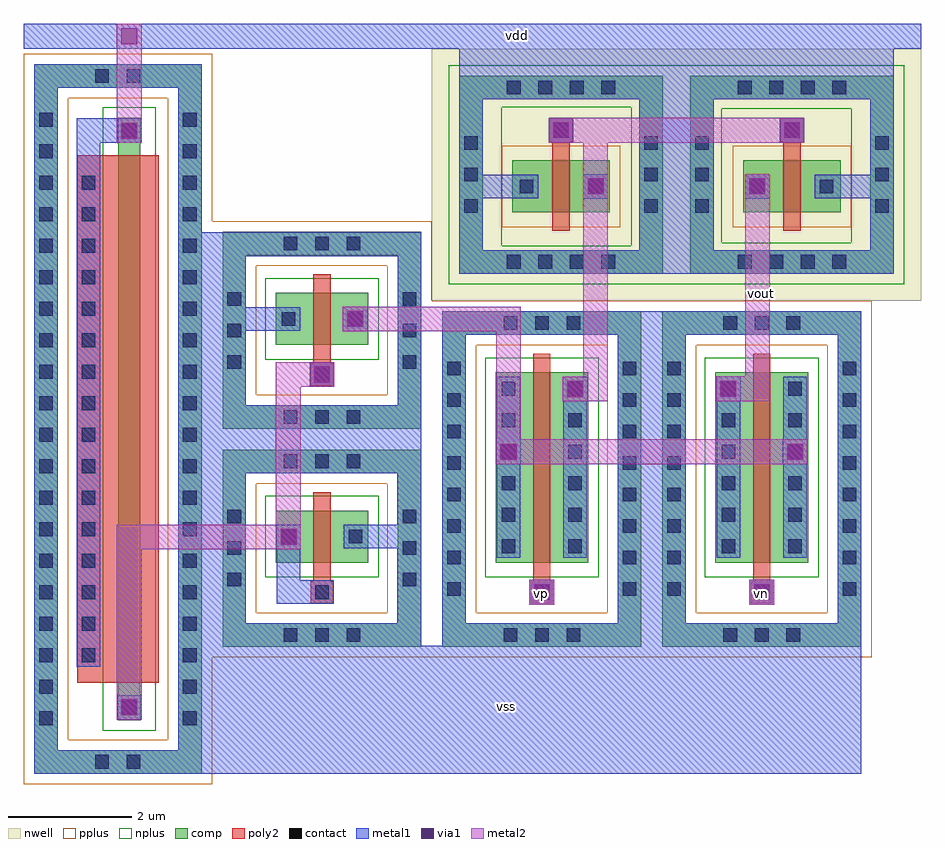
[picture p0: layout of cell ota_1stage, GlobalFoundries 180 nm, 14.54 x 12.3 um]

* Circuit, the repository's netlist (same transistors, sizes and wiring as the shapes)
* NGSPICE file created from ota_1stage.ext - technology: gf180mcuD

.subckt pfet w_n352_n286# a_n92_0# a_94_0# a_28_228#
X0 a_94_0# a_28_228# a_n92_0# w_n352_n286# pfet_03v3 ad=0.546p pd=2.98u as=0.546p ps=2.98u w=0.84u l=0.28u
.ends

.subckt nfet$1 a_n256_n272# a_30_n132# a_n84_0# a_94_0#
X0 a_94_0# a_30_n132# a_n84_0# a_n256_n272# nfet_03v3 ad=1.8788p pd=7.38u as=1.8788p ps=7.38u w=3.08u l=0.28u
.ends

.subckt nfet a_n84_n2# a_n256_n198# a_1746_0# a_38_n60#
X0 a_1746_0# a_38_n60# a_n84_n2# a_n256_n198# nfet_03v3 ad=0.228p pd=1.98u as=0.228p ps=1.98u w=0.36u l=8.54u
.ends

.subckt nfet$2 a_n256_n272# a_30_n132# a_n84_0# a_94_0#
X0 a_94_0# a_30_n132# a_n84_0# a_n256_n272# nfet_03v3 ad=0.5124p pd=2.9u as=0.5124p ps=2.9u w=0.84u l=0.28u
.ends

.subckt ota_1stage vdd vp vn vss vout
Xpfet_0 vdd vdd m3_n314_178# m3_n314_178# pfet
Xpfet_1 vdd vdd vout m3_n314_178# pfet
Xnfet$1_0 vss vn m3_n530_n14# vout nfet$1
Xnfet$1_1 vss vp m3_n530_n14# m3_n314_178# nfet$1
Xnfet_0 m3_n1200_n476# vss vdd vdd nfet
Xnfet$2_0 vss m3_n1200_n476# m3_n1200_n476# vss nfet$2
Xnfet$2_1 vss m3_n1200_n476# vss m3_n530_n14# nfet$2
.ends

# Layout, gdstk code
from math import pi, radians
import gdstk
lib = gdstk.Library(unit=1e-6, precision=5e-09)
def R(c, l, rs):  # rectangles x0, y0, x1, y1
    for r in rs: c.add(gdstk.rectangle(r[:2], r[2:], *l))
def A(c, l, x, y, w, h, nx, ny, dx, dy):  # array of equal rectangles
    R(c, l, [(x+i*dx, y+j*dy, x+i*dx+w, y+j*dy+h) for i in range(nx) for j in range(ny)])
def P(c, l, *ps):  # polygons
    for p in ps: c.add(gdstk.Polygon(p, *l))
nwell = (21, 0)
comp = (22, 0)
poly2 = (30, 0)
pplus = (31, 0)
nplus = (32, 0)
contact = (33, 0)
metal1 = (34, 0)
via1 = (35, 0)
metal2 = (36, 0)

nfet_3 = lib.new_cell('nfet$3')
R(nfet_3, comp, [(-0.42,-0.01,0,0.37), (8.92,-0.01,9.34,0.37), (0,0,8.92,0.36)])
P(nfet_3, comp, [(-1.28,-0.99),(-1.28,1.34),(-0.9,1.34),(-0.9,-0.61),(9.82,-0.61),(9.82,1.34),(-1.28,1.34),(-1.28,1.72),(10.2,1.72),(10.2,-0.99)])
R(nfet_3, poly2, [(0.19,-0.3,8.73,0.66), (0.19,0.66,8.73,1.02)])
P(nfet_3, pplus, [(-1.45,-1.16),(-1.45,1.17),(-0.73,1.17),(-0.73,-0.44),(9.65,-0.44),(9.65,1.17),(-1.45,1.17),(-1.45,1.89),(10.37,1.89),(10.37,-1.16)])
R(nfet_3, nplus, [(-0.59,-0.25,9.51,0.61)])
A(nfet_3, contact, -0.495, -0.91, 0.22, 0.22, 20, 2, 0.51, 2.33)
A(nfet_3, contact, 0.525, 0.73, 0.22, 0.22, 16, 1, 0.51, 0)
R(nfet_3, contact, [(-1.2,0,-0.98,0.22), (9.9,0,10.12,0.22), (-0.32,0.07,-0.1,0.29), (9.02,0.07,9.24,0.29), (-1.2,0.51,-0.98,0.73), (9.9,0.51,10.12,0.73)])
R(nfet_3, metal1, [(-0.4,-0.01,-0.02,0.37), (8.94,-0.01,9.32,0.37), (0.445,0.65,8.475,1.03)])

pfet_1 = lib.new_cell('pfet$1')
R(pfet_1, nwell, [(-1.76,-1.43,2.42,2.65)])
R(pfet_1, comp, [(-0.46,0,0,0.84), (0,0,0.66,0.84), (0.66,0,1.12,0.84)])
P(pfet_1, comp, [(-1.32,-0.99),(-1.32,1.83),(-0.94,1.83),(-0.94,-0.61),(1.6,-0.61),(1.6,1.83),(-1.32,1.83),(-1.32,2.21),(1.98,2.21),(1.98,-0.99)])
R(pfet_1, poly2, [(0.19,-0.3,0.47,1.14), (0.14,1.14,0.52,1.52)])
R(pfet_1, pplus, [(-0.63,-0.24,1.29,1.08)])
A(pfet_1, contact, -0.545, -0.91, 0.22, 0.22, 4, 2, 0.51, 2.82)
A(pfet_1, contact, -1.24, -0.01, 0.22, 0.22, 1, 3, 0, 0.51)
A(pfet_1, contact, 1.68, -0.01, 0.22, 0.22, 1, 3, 0, 0.51)
R(pfet_1, contact, [(-0.34,0.31,-0.12,0.53), (0.78,0.31,1,0.53), (0.22,1.22,0.44,1.44)])
R(pfet_1, metal1, [(-0.42,0.23,-0.04,0.61), (0.7,0.23,1.08,0.61), (0.14,1.14,0.52,1.52)])

via_dev_2 = lib.new_cell('via_dev$2')
R(via_dev_2, metal1, [(0,0,0.4,0.4)])
R(via_dev_2, via1, [(0.07,0.07,0.33,0.33)])
R(via_dev_2, metal2, [(0,0,0.4,0.4)])

nfet_1 = lib.new_cell('nfet$1')
R(nfet_1, comp, [(-0.42,0,0,3.08), (0,0,0.66,3.08), (0.66,0,1.08,3.08)])
P(nfet_1, comp, [(-1.28,-1.36),(-1.28,3.69),(-0.9,3.69),(-0.9,-0.98),(1.56,-0.98),(1.56,3.69),(-1.28,3.69),(-1.28,4.07),(1.94,4.07),(1.94,-1.36)])
R(nfet_1, poly2, [(0.15,-0.66,0.51,-0.3), (0.19,-0.3,0.47,3.38)])
P(nfet_1, pplus, [(-1.45,-1.53),(-1.45,3.52),(-0.73,3.52),(-0.73,-0.81),(1.39,-0.81),(1.39,3.52),(-1.45,3.52),(-1.45,4.24),(2.11,4.24),(2.11,-1.53)])
R(nfet_1, nplus, [(-0.59,-0.24,1.25,3.32)])
A(nfet_1, contact, -0.29, -1.28, 0.22, 0.22, 3, 2, 0.51, 5.05)
A(nfet_1, contact, -1.2, -0.54, 0.22, 0.22, 1, 8, 0, 0.51)
A(nfet_1, contact, 1.64, -0.54, 0.22, 0.22, 1, 8, 0, 0.51)
A(nfet_1, contact, -0.32, 0.155, 0.22, 0.22, 1, 6, 0, 0.51)
A(nfet_1, contact, 0.76, 0.155, 0.22, 0.22, 1, 6, 0, 0.51)
R(nfet_1, contact, [(0.22,-0.59,0.44,-0.37)])
R(nfet_1, metal1, [(0.14,-0.67,0.52,-0.29), (-0.4,0.075,-0.02,3.005), (0.68,0.075,1.06,3.005)])

nfet = lib.new_cell('nfet')
R(nfet, comp, [(-0.42,0,0,0.84), (0,0,0.66,0.84), (0.66,0,1.08,0.84)])
P(nfet, comp, [(-1.28,-1.36),(-1.28,1.45),(-0.9,1.45),(-0.9,-0.98),(1.56,-0.98),(1.56,1.45),(-1.28,1.45),(-1.28,1.83),(1.94,1.83),(1.94,-1.36)])
R(nfet, poly2, [(0.15,-0.66,0.51,-0.3), (0.19,-0.3,0.47,1.14)])
P(nfet, pplus, [(-1.45,-1.53),(-1.45,1.28),(-0.73,1.28),(-0.73,-0.81),(1.39,-0.81),(1.39,1.28),(-1.45,1.28),(-1.45,2),(2.11,2),(2.11,-1.53)])
R(nfet, nplus, [(-0.59,-0.24,1.25,1.08)])
A(nfet, contact, -0.29, -1.28, 0.22, 0.22, 3, 2, 0.51, 2.81)
A(nfet, contact, -1.2, -0.385, 0.22, 0.22, 1, 3, 0, 0.51)
A(nfet, contact, 1.64, -0.385, 0.22, 0.22, 1, 3, 0, 0.51)
R(nfet, contact, [(0.22,-0.59,0.44,-0.37), (-0.32,0.31,-0.1,0.53), (0.76,0.31,0.98,0.53)])
R(nfet, metal1, [(0.14,-0.67,0.52,-0.29), (-0.4,0.23,-0.02,0.61), (0.68,0.23,1.06,0.61)])

ota_1stage = lib.new_cell('ota_1stage')
P(ota_1stage, nplus, [(-3.75,2.625),(-3.75,5.485),(-2.89,5.485),(-2.89,3.245),(-0.795,3.245),(-0.795,5.465),(0.675,5.465),(0.675,3.29),(2.77,3.29),(2.77,5.465),(-0.795,5.465),(-0.795,5.485),(-3.75,5.485),(-3.75,6.165),(3.63,6.165),(3.63,2.625)])
R(ota_1stage, metal1, [(-7.75,-5.3,-7.41,3.46), (-7.41,-5.3,2.93,-3.23), (-5.075,-1.655,-4.58,-1.275), (-7.05,1.87,-6.525,2.25), (-3.22,4.015,-2.68,4.395), (2.56,4.015,3.09,4.395), (-3.58,5.995,3.46,6.435), (-10.63,6.435,3.905,6.835)])
P(ota_1stage, metal1, [(-9.77,4.455),(-9.77,5.31),(-9.12,5.31),(-9.12,4.91),(-9.39,4.91),(-9.39,4.455)],
  [(-10.46,-5.3),(-10.46,6.18),(-7.75,6.18),(-7.75,-5.3),(-10.08,-5.3),(-10.08,-4.92),(-8.13,-4.92),(-8.13,5.8),(-10.08,5.8),(-10.08,-5.3)],
  [(-6.53,-2.555),(-6.53,-1.655),(-6.15,-1.655),(-6.15,-2.175),(-5.99,-2.175),(-5.99,-2.555)],
  [(-3.85,-3.245),(-3.85,1.805),(-3.47,1.805),(-3.47,-2.865),(-1.01,-2.865),(-1.01,1.805),(0.09,1.805),(0.09,-2.865),(2.55,-2.865),(2.55,1.805),(-3.85,1.805),(-3.85,2.185),(2.93,2.185),(2.93,-3.245)],
  [(-7.41,-3.25),(-7.41,-0.44),(-7.03,-0.44),(-7.03,-2.87),(-4.58,-2.87),(-4.58,-0.44),(-7.41,-0.44),(-7.41,3.075),(-7.03,3.075),(-7.03,0.66),(-4.57,0.66),(-4.57,3.075),(-7.41,3.075),(-7.41,3.46),(-4.19,3.46),(-4.19,-3.25)],
  [(-3.58,2.795),(-3.58,5.615),(-3.2,5.615),(-3.2,3.175),(-0.66,3.175),(-0.66,5.615),(0.54,5.615),(0.54,3.175),(3.08,3.175),(3.08,5.615),(-3.58,5.615),(-3.58,5.995),(3.46,5.995),(3.46,2.795)])
R(ota_1stage, metal2, [(-9.12,-4.03,-8.72,-1.27), (-9.1,-1.67,-6.545,-1.27), (-6.545,-1.67,-6.145,0.96), (-2.58,-0.29,1.66,0.11), (-2.98,0.11,-2.58,1.86), (-1.57,0.725,-1.17,4.915), (0.98,0.73,1.05,1.13), (1.05,0.73,1.45,4.13), (-6.545,0.96,-6,1.36), (-5.46,1.86,-2.58,2.26), (-1.73,4.915,1.61,5.315), (-9.12,5.305,-8.72,6.435)])
ota_1stage.add(gdstk.Reference(nfet_3, (-8.74,-4.02), rotation=pi/2))
ota_1stage.add(gdstk.Reference(pfet_1, (-2.26,3.785)))
ota_1stage.add(gdstk.Reference(pfet_1, (1.48,3.785)))
ota_1stage.add(gdstk.Reference(via_dev_2, (1.05,4.005)))
ota_1stage.add(gdstk.Reference(via_dev_2, (-1.57,4.005)))
ota_1stage.add(gdstk.Reference(via_dev_2, (-2.13,4.915)))
ota_1stage.add(gdstk.Reference(via_dev_2, (1.61,4.915)))
ota_1stage.add(gdstk.Reference(via_dev_2, (0.58,0.73)))
ota_1stage.add(gdstk.Reference(via_dev_2, (-1.9,0.725)))
ota_1stage.add(gdstk.Reference(nfet_1, (-2.57,-1.885)))
ota_1stage.add(gdstk.Reference(nfet_1, (0.99,-1.885)))
ota_1stage.add(gdstk.Reference(via_dev_2, (-2.98,-0.29)))
ota_1stage.add(gdstk.Reference(via_dev_2, (1.66,-0.29)))
ota_1stage.add(gdstk.Reference(via_dev_2, (-2.44,-2.565)))
ota_1stage.add(gdstk.Reference(via_dev_2, (1.12,-2.565)))
ota_1stage.add(gdstk.Reference(nfet, (-6.13,1.64)))
ota_1stage.add(gdstk.Reference(via_dev_2, (-5.46,1.86)))
ota_1stage.add(gdstk.Reference(via_dev_2, (-6,0.96)))
ota_1stage.add(gdstk.Reference(nfet, (-6.13,-1.885)))
ota_1stage.add(gdstk.Reference(via_dev_2, (-8.72,4.91), rotation=pi/2))
ota_1stage.add(gdstk.Reference(via_dev_2, (-9.12,6.435)))
ota_1stage.add(gdstk.Reference(via_dev_2, (-8.72,-4.43), rotation=pi/2))
ota_1stage.add(gdstk.Reference(via_dev_2, (-6.54,-1.67)))
ota_1stage.add(gdstk.Label('vss', (-2.815,-4.215), layer=34, texttype=10))
ota_1stage.add(gdstk.Label('vdd', (-2.64,6.645), layer=34, texttype=10))
ota_1stage.add(gdstk.Label('vp', (-2.245,-2.38), layer=36, texttype=10))
ota_1stage.add(gdstk.Label('vn', (1.32,-2.385), layer=36, texttype=10))
ota_1stage.add(gdstk.Label('vout', (1.315,2.465), layer=36, texttype=10))

lib.write_gds('ota_1stage.gds')
